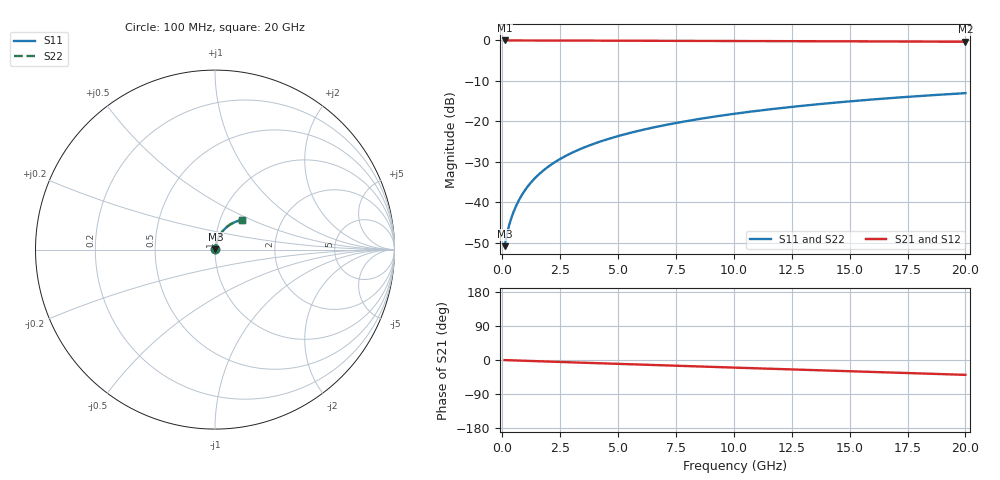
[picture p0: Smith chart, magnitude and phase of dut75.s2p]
! Touchstone file exported from HFSS 2026.1.0
!  File:  C:/ffzhzh/LocalFiles/Ansys_Project_Files/temp_train_BSMRDL_75_1782882954_42304.aedt
!  Generated:  01:17:09 PM Jul  1, 2026
!  Design:  BSMRDL
!  Project:  temp_train_BSMRDL_75_1782882954_42304
! Variables:
!  h_bsmrdl = 5.39um
!  h_ox = 20um
!  h_rdl = 5um
!  h_sub = 80um
!  h_tmrdl = 5um
!  h_tsv = 80um
!  h_via = 3um
!  l_bsmrdl = 657.19um
!  l_sub = 1057.19um
!  l_tmrdl = 200um
!  m_sub = 200um
!  pitch = 33.39um
!  r_tsv = 6um
!  s_tmrdl = 10um
!  w_bsmrdl = 20.26um
!  w_sub = 500um
!  w_tmrdl = 12um
!  x_tsv_center1 = 206um
!  x_tsv_center2 = 883.45um
!  x_tsv_center3 = 1095.45um
!  x_tsv_center4 = 1772.9um
!  x_tsv_center5 = 1984.9um
!  x_tsv_center6 = 2662.35um
# GHz S MA R 50.000000
! Terminal data exported
! Port[1] = BSM_RDL1_1_T1
! Port[2] = BSM_RDL1_1_T2
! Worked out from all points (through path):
!   200 points, 100 MHz to 20 GHz, reference 50 ohm
!   highest |S21| = -0.02 dB at 100 MHz (marker M1); lowest = -0.3 dB at 20 GHz (marker M2)
!   group delay of S21, straight-line fit = 5.43 ps
!   lowest |S11| = -50.9 dB at 100 MHz (marker M3), VSWR 1.01, Z = 50.2 + j0.165 ohm
!   |S11| at or under -10 dB: start of sweep to end of sweep
!   |S22| runs from -50.9 to -13.0 dB; largest |S21 - S12| = 5.3e-15
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0.1  0.002854 35.2  0.9977 -0.2  0.9977 -0.2  0.002854 35.2
! Gamma 0 0 0 0
! Port Impedance 50 0 50 0
0.2  0.004027 50.6  0.9975 -0.4  0.9975 -0.4  0.004027 50.6
0.3  0.005244 58.5  0.9973 -0.6  0.9973 -0.6  0.005243 58.5
0.4  0.00648 63.6  0.9972 -0.9  0.9972 -0.9  0.00648 63.6
0.5  0.007742 67.2  0.9971 -1.1  0.9971 -1.1  0.007742 67.2
0.6  0.009028 69.8  0.997 -1.3  0.997 -1.3  0.009028 69.8
0.8  0.01165 73.2  0.9969 -1.7  0.9969 -1.7  0.01165 73.2
1.1  0.01564 75.8  0.9967 -2.3  0.9967 -2.3  0.01564 75.8
1.3  0.01832 76.7  0.9965 -2.7  0.9965 -2.7  0.01832 76.7
1.6  0.02233 77.5  0.9962 -3.3  0.9962 -3.3  0.02233 77.5
2.1  0.02896 77.7  0.9956 -4.4  0.9956 -4.4  0.02896 77.7
2.7  0.03679 77.3  0.9948 -5.6  0.9948 -5.6  0.03679 77.3
3.5  0.047 76.3  0.9936 -7.2  0.9936 -7.2  0.047 76.3
4.2  0.05574 75.2  0.9925 -8.6  0.9925 -8.6  0.05574 75.3
5  0.06553 74.0  0.9912 -10.2  0.9912 -10.2  0.06554 74.0
5.9  0.07635 72.5  0.9897 -12.0  0.9897 -12.0  0.07636 72.5
6.8  0.08699 71.0  0.9882 -13.8  0.9882 -13.8  0.08699 71.0
8.3  0.1043 68.4  0.9857 -16.7  0.9857 -16.7  0.1044 68.4
10.1  0.1246 65.3  0.9824 -20.2  0.9824 -20.2  0.1246 65.3
13.4  0.1599 59.4  0.976 -26.6  0.976 -26.6  0.16 59.4
16.7  0.1927 53.5  0.969 -33.0  0.969 -33.0  0.1928 53.5
20  0.2226 47.6  0.9618 -39.2  0.9618 -39.2  0.2227 47.6
